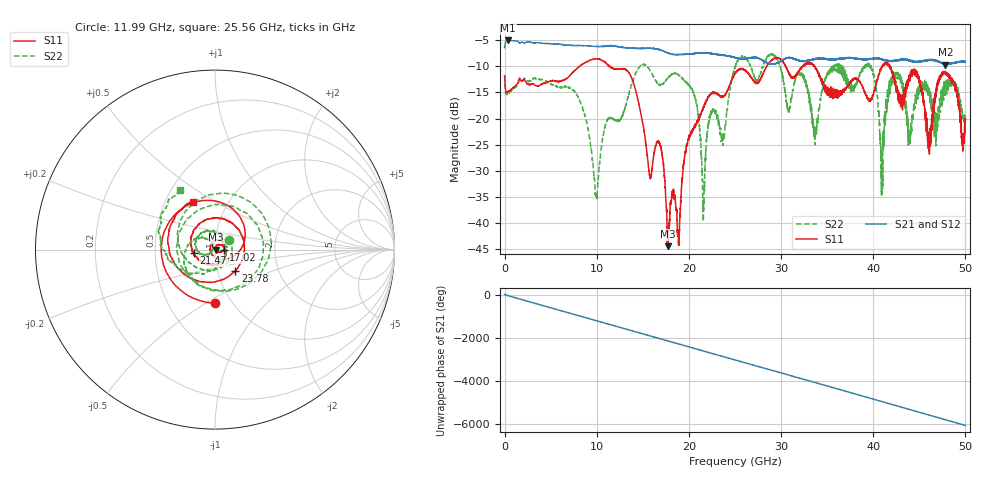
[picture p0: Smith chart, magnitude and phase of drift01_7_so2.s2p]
!Created with skrf (http://scikit-rf.org).
# Hz S RI R 50.0
!freq ReS11 ImS11 ReS21 ImS21 ReS12 ImS12 ReS22 ImS22
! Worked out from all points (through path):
!   10001 points, 300 kHz to 50 GHz, reference 50 ohm
!   highest |S21| = -5.05 dB at 395.3 MHz (marker M1); lowest = -9.7 dB at 47.84 GHz (marker M2)
!   group delay of S21, straight-line fit = 336 ps
!   lowest |S11| = -44.5 dB at 17.69 GHz (marker M3), VSWR 1.01, Z = 50.6 - j0.115 ohm
!   |S11| at or under -10 dB: start of sweep to 8.138 GHz; 11.39 GHz to 28.44 GHz (17.05 GHz wide, 85.6 % of centre); 41.79 GHz to end of sweep (the widest 3 of 16)
!   |S22| runs from -39.7 to -7.6 dB; largest |S21 - S12| = 0.013
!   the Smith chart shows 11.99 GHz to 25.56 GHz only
!   S11 on the Smith chart (normalised r, x): 11.99 GHz: 0.84, -0.55; 17.02 GHz: 1.10, -0.00; 21.47 GHz: 0.79, -0.03; 23.78 GHz: 1.22, -0.30; 25.56 GHz: 0.68, +0.40
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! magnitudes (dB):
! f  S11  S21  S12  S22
! 300 kHz  -11.8  -6.4  -6.5  -11.7
! 395.3 MHz  -14.8  -5.1  -5.1  -15.2
! 8.335 GHz  -9.8  -6.0  -6.0  -17.4
! 9.935 GHz  -8.6  -6.2  -6.2  -34.7
! 11.99 GHz  -10.5  -6.1  -6.1  -20.4
! 15.78 GHz  -31.3  -6.5  -6.5  -10.8
! 16.67 GHz  -24.3  -6.8  -6.8  -13.4
! 17.02 GHz  -26.2  -6.9  -6.9  -13.6
! 17.69 GHz  -44.5  -7.4  -7.4  -12.3
! 20.5 GHz  -21.9  -7.6  -7.6  -15.1
! 21.47 GHz  -18.5  -7.4  -7.4  -31.9
! 22.45 GHz  -15.1  -7.5  -7.5  -18.6
! 23.78 GHz  -15.7  -7.9  -7.9  -23.1
! 25 GHz  -11.4  -8.4  -8.4  -10.2
! 25.56 GHz  -10.6  -8.6  -8.6  -8.3
! 33.34 GHz  -9.6  -8.7  -8.7  -19.6
! 39.51 GHz  -16.6  -8.6  -8.6  -10.0
! 40.94 GHz  -10.0  -8.6  -8.6  -27.5
! 41.67 GHz  -9.8  -8.9  -9.0  -15.2
! 46.06 GHz  -26.3  -8.8  -8.7  -14.4
! 47.84 GHz  -11.3  -9.7  -9.6  -14.1
! 50 GHz  -20.2  -9.1  -9.2  -20.2
